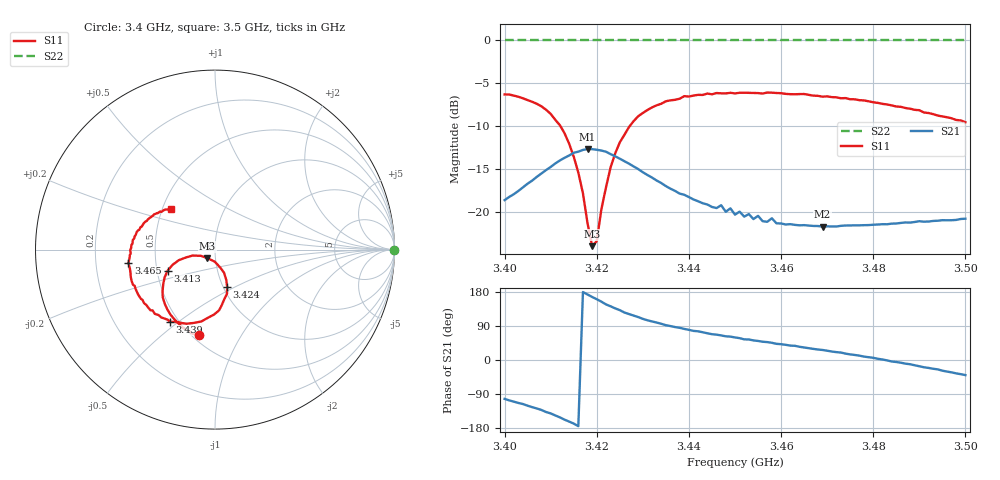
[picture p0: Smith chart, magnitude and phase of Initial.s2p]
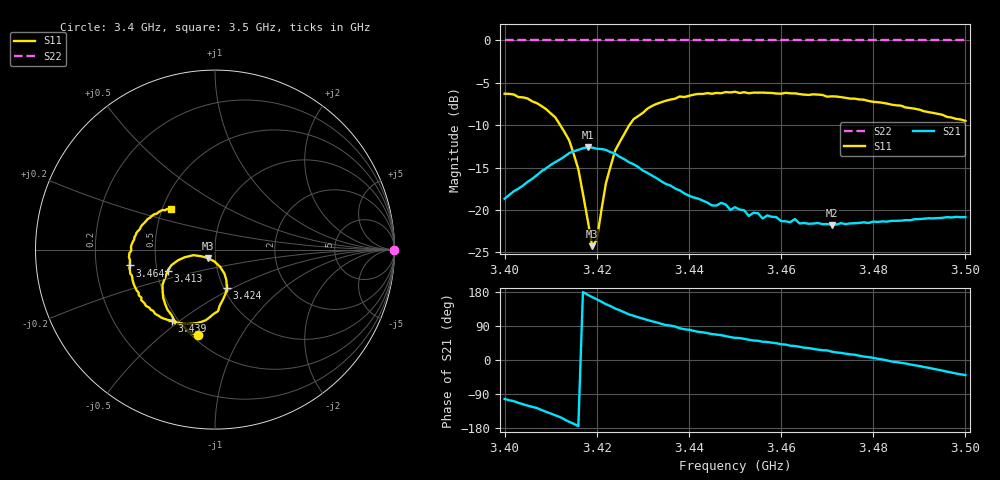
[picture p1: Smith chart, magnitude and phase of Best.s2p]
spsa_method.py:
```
import numpy as np
from typing import Callable, Tuple, Union
from nanovna import NanoVNAV2
import skrf
import matplotlib
import matplotlib.pyplot as plt
import time
import motor1
import motor2
import motor3
import scipy.optimize as spo
import threading
import os

matplotlib.rcParams['toolbar'] = 'None'

### User functions ###
#a = input('press enter to continue')
#motor1.drive(goto=200)
#a = input('press enter to continue')

### Input parameters ###

# Goals
f_goal = 3420e6
sign = -1 #minimize S21: sign=1, maximize S21: sign=-1

# Excitation parameters
f_start = 3300e6 # Hz
f_stop = 3500e6 # Hz
sweep_pts = 101 # 101 / Number of points to sweep

### Clear previous data/logs ###
files = ['Current.s2p', 'Initial.s2p', 'Best.s2p', 'log.txt']

for file in files:
	if os.path.isfile(file):
		os.remove(file)
	else:
		pass

### Device initiation ###
# Initiate device
nv = NanoVNAV2()

# Set frequency range
nv.set_sweep(f_start, f_stop)
nv.fetch_frequencies()

# Measure initial S11 and S21
s11 = nv.data(0)
s21 = nv.data(1)

f_arr = np.linspace(f_start/1e6, f_stop/1e6, num=sweep_pts)
f = skrf.Frequency.from_f(f_arr, unit='MHz')
s = np.zeros((len(f), 2, 2), dtype = 'complex_')
s[:,0,0] = s11
s[:,0,1] = np.ones_like(s11)*np.nan
s[:,1,0] = s21
s[:,1,1] = np.ones_like(s11)*np.nan
ntw_init = skrf.Network(frequency=f, s=s)

ntw_init.write_touchstone('Initial')
ntw_init = skrf.Network('Initial.s2p')

ntw_best = ntw_init
ntw_best.write_touchstone('Best')
ntw_best = skrf.Network('Best.s2p')

f_goal /= 1e6
difference_array = np.absolute(f_arr-f_goal)
idx = (np.abs(f_arr - f_goal)).argmin()

if f_goal == int(f_goal):
	f_goal_label = str(int(f_goal))
else:
	f_goal_label = str(f_goal)

positions = np.empty((0,3))
s11_progress = np.array([])
s21_progress = np.array([])

plt.ion()

fig = plt.figure('Network Optimizer')
plt.tight_layout()
mng = plt.get_current_fig_manager()
mng.full_screen_toggle()

flag = True
def s21_mag(goto):
	global positions, best, ntw_best, s, s11_progress, s21_progress, f_goal_label, flag
	try:
		# Float to Int
		goto = [int(pos) for pos in goto]

		goto1 = goto[0]
		goto2 = goto[1]
		goto3 = goto[2]
		if not flag:
			positions = np.append(positions, [[goto1, goto2, goto3]], axis=0)
		with open('log.txt', 'a') as log:
			log.write('==================================\n')
			log.write('Shifting motor1 to position: '+str(goto1)+'\n')
			log.write('Shifting motor2 to position: '+str(goto2)+'\n')
			log.write('Shifting motor3 to position: '+str(goto3)+'\n')
		threads = [
			threading.Thread(target=motor1.drive, args=(goto1,)),
			threading.Thread(target=motor2.drive, args=(goto2,)),
			threading.Thread(target=motor3.drive, args=(goto3,))
		]
		for thread in threads:
			thread.start()
		for thread in threads:
			thread.join()

		prev_iter = sign*skrf.mathFunctions.complex_2_db(s[idx,1,0])

		# Measure current S11 and S21
		s11 = nv.data(0)
		s21 = nv.data(1)

		f_arr = np.linspace(f_start/1e6, f_stop/1e6, num=sweep_pts)
		f = skrf.Frequency.from_f(f_arr, unit='MHz')
		s = np.zeros((len(f), 2, 2), dtype = 'complex_')
		s[:,0,0] = s11
		s[:,0,1] = np.ones_like(s11)*np.nan # S12 (incompatible with NanoVNA)
		s[:,1,0] = s21
		s[:,1,1] = np.ones_like(s11)*np.nan # S22 (incompatible with NanoVNA)

		if not flag:
			s11_progress = np.append(s11_progress, skrf.mathFunctions.complex_2_db(s[idx,0,0]))
			s21_progress = np.append(s21_progress, skrf.mathFunctions.complex_2_db(s[idx,1,0]))

		ntw = skrf.Network(frequency=f, s=s)

		ntw.write_touchstone('Current')
		ntw = skrf.Network('Current.s2p')

		if flag:
			best = sign*skrf.mathFunctions.complex_2_db(s[idx,1,0])
			ntw_best = ntw
			ntw_best.write_touchstone('Best')
			ntw_best = skrf.Network('Best.s2p')
			flag = False
		else:
			if sign*skrf.mathFunctions.complex_2_db(s[idx,1,0]) < best:
				best = sign*skrf.mathFunctions.complex_2_db(s[idx,1,0])
				ntw_best = ntw
				ntw_best.write_touchstone('Best')
				ntw_best = skrf.Network('Best.s2p')

		plt.clf()
		ax1 = plt.subplot(221) # Initial vs Best
		ax2 = plt.subplot(223) # Current
		ax3 = plt.subplot(224) # Positions vs Iteration
		ax4 = plt.subplot(222) # |S11|, |S21| vs Iteration (maybe with axhline for Initial for reference?)

		plt.subplots_adjust() #hspace=0.075)

		# Initial vs Best
		ax1.set_title('Optimization Progress')

		ax1.axvline(x=f_goal*1e6, color='#9467bd', linestyle='--')
		ntw_init.plot_s_db(n=0,m=0,ax=ax1)
		ntw_init.plot_s_db(n=0,m=1,ax=ax1)

		#if sign*skrf.mathFunctions.complex_2_db(s[idx,1,0]) < prev_iter:
		#	ntw_best = ntw
		#	ntw_best.write_touchstone('best')
		#	ntw_best = skrf.Network('best.s2p')

		ntw_best.plot_s_db(n=0,m=0,ax=ax1)
		ntw_best.plot_s_db(n=0,m=1,ax=ax1)

		ax1.set_ylim(-40,0)
		ax1.grid()
		ax1.legend(loc='lower left')

		# Current
		ax2.axvline(x=f_goal*1e6, color='#9467bd', linestyle='--')
		ntw.plot_s_db(n=0,m=0,ax=ax2)
		ntw.plot_s_db(n=0,m=1,ax=ax2)
		ax1.get_shared_x_axes().join(ax1, ax2)
		ax1.set_xticklabels([])
		x_axis = ax1.axes.get_xaxis()
		x_axis.set_label_text('')
		x_label = x_axis.get_label()
		x_label.set_visible(False)
		ax2.set_ylim(-40,0)
		ax2.grid()
		ax2.legend(loc='lower left')

		# Positions vs Iteration #
		ax3.plot(range(len(positions)),positions[:,0],label='Motor 1') # Motor1
		ax3.plot(range(len(positions)),positions[:,1],label='Motor 2') # Motor2
		ax3.plot(range(len(positions)),positions[:,2],label='Motor 3') # Motor3
		ax3.set_xlim(left=0)
		ax3.grid()
		ax3.legend(loc='best')
		ax3.set_xlabel('Iteration #')
		ax3.set_ylabel('Position (steps)')

		# |S11|, |S21| vs Iteration #
		ax4.set_title('Motor Iterations')
		ax4.plot(range(len(s11_progress)),s11_progress,label='S11('+f_goal_label+' MHz)') # Motor1
		ax4.plot(range(len(s21_progress)),s21_progress,label='S21('+f_goal_label+' MHz)') # Motor2
		ax4.set_xlim(left=0)
		ax4.get_shared_x_axes().join(ax4, ax3)
		ax4.set_xticklabels([])
		x_axis = ax1.axes.get_xaxis()
		x_axis.set_label_text('')
		x_label = x_axis.get_label()
		x_label.set_visible(False)
		ax4.grid()
		ax4.legend(loc='best')
		#ax4.set_xlabel('Iteration #')
		ax4.set_ylabel('Magnitude (dB)')

		plt.show()
		plt.tight_layout()
		plt.draw()
		plt.pause(0.0001)
	except KeyboardInterrupt:
		raise ValueError('\nSweep terminated by user.')
		#return 1

	return sign*skrf.mathFunctions.complex_2_db(s[idx,1,0])

# loss(Vector) -> float.
Vector = Union[np.ndarray, float]
LossFunction = Callable[[Vector], float]

def map_to_range(x: Vector, lo: Vector, hi: Vector) -> Vector:
    """Maps the range of values (-inf, inf) to the range of values (lo, hi)."""
    return lo + (hi - lo) / (1 + np.exp(x))

def decay(x: float, decay: float, power: float, iteration: int) -> float:
    """Reduces x over time."""
    return x / (1 + decay * iteration) ** power

def spsa(
    fun: LossFunction,
    x0: Vector,
    lr: float = 0.01,
    lr_decay: float = 0.001,
    lr_power: float = 0.5,
    px: float = 0.1,
    px_decay: float = 0.2, #good: 0.1, original: 0.01
    px_power: float = 0.161,
    px_min: float = 0.0001,
    iterations: int = 1000,
    momentum: float = 0.5,
) -> Vector:
    # Use a copy of the input.
    x = np.array(x0, dtype=float)
    # Initial gradient estimates.
    gradient = np.zeros_like(x, dtype=float)
    weight = 0.0
    # Loop the specified number of iterations.
    for iteration in range(iterations):
        # Get a perturbation.
        dx = max(px_min, decay(px, px_decay, px_power, iteration)) * np.random.choice((-1, 1), size=x.shape)
        # Estimate the gradient.
        df_dx = (fun(x + dx) - fun(x - dx)) / (2 * dx)
        # Update the gradient momentum.
        gradient += (1 - momentum) * (df_dx - gradient)
        weight += (1 - momentum) * (1 - weight)
        # Update the estimate of the minima.
        x -= decay(lr, lr_decay, lr_power, iteration) / weight * gradient
        """Changed line to give you the current estimate so you can run that as well."""
        yield x

def fun(x: Vector) -> float:
    """Map x to the desired range of values, and turn s21_mag into a minimization problem."""
    x = map_to_range(x, 0, 45000)
    return s21_mag(x)

def main():
    global x_prev, y_prev
    initial = 20
    optimizer = spsa(
        fun,
	x0=min(np.random.uniform(-5, 5, size=(initial, 3)), key=fun),
        #x0=np.random.uniform(-2, 2, size=3),
        lr=0.01,
        px=0.3,
        px_min=0.01,
    )
    y_tol = 0.1
    y_prev = float("nan")

    x_tol = 0.1
    x_prev = np.full(3, float("nan"))
    for x in optimizer:
        y = fun(x)
        if abs(y - y_prev) < y_tol or np.linalg.norm(x - x_prev) < x_tol:
            break
        y_prev = -y
        x_prev = x = map_to_range(x, 0, 45000)

try:
	main()
	with open('log.txt', 'a') as log:
		log.write('\nOptimal configuration found: '+str(x_prev)+' | Yielding |S21| = '+str(y_prev)+' dB\n\n')
except:
	pass

fig.savefig('results.png')
plt.close(fig)

#reset = input('Reset motors back to 0? [y/N]: ')
reset = 'y'
if reset == 'y':
	with open('log.txt', 'a') as log:
		log.write('Resetting motors back to initial positions (0 steps)...\n')

	threads = [
		threading.Thread(target=motor1.drive, args=(0,)),
		threading.Thread(target=motor2.drive, args=(0,)),
		threading.Thread(target=motor3.drive, args=(0,))
	]

	for thread in threads:
		thread.start()
	for thread in threads:
		thread.join()

	# GPIO cleanup
	motor1.cleanup()
	motor2.cleanup()
	motor3.cleanup()
```
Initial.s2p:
!Created with skrf (http://scikit-rf.org).
# MHz S RI R 50.0
!freq ReS11 ImS11 ReS21 ImS21 ReS12 ImS12 ReS22 ImS22
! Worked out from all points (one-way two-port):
!   101 points, 3.4 GHz to 3.5 GHz, reference 50 ohm
!   highest |S21| = -12.66 dB at 3.418 GHz (marker M1); lowest = -21.7 dB at 3.469 GHz (marker M2)
!   lowest |S11| = -24.0 dB at 3.419 GHz (marker M3), VSWR 1.14, Z = 45.8 - j4.37 ohm
!   |S11| at or under -10 dB: 3.41213 GHz to 3.427124 GHz (14.99 MHz wide, 0.438 % of centre)
!   |S22| runs from 0.0 to 0.0 dB; largest |S21 - S12| = 0.23
!   S11 on the Smith chart (normalised r, x): 3.4 GHz: 0.54, -0.68; 3.413 GHz: 0.57, -0.14; 3.424 GHz: 1.04, -0.46; 3.439 GHz: 0.45, -0.47; 3.465 GHz: 0.35, -0.07; 3.5 GHz: 0.56, +0.29
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3400  -0.0876 -0.4768  -0.0257 -0.1146  0 0  1 0
3413  -0.2635 -0.1167  -0.1913 -0.0793  0 0  1 0
3418  -0.0786 -0.0347  -0.231 0.029  0 0  1 0
3419  -0.0418 -0.0475  -0.226 0.0552  0 0  1 0
3424  0.0677 -0.209  -0.1526 0.1462  0 0  1 0
3429  -0.00513 -0.362  -0.0703 0.1636  0 0  1 0
3439  -0.2506 -0.402  0.0176 0.1248  0 0  1 0
3450  -0.4032 -0.2811  0.049 0.0833  0 0  1 0
3465  -0.4821 -0.072  0.0704 0.0458  0 0  1 0
3469  -0.4697 -0.0221  0.0736 0.0366  0 0  1 0
3500  -0.2431 0.2285  0.0703 -0.0586  0 0  1 0
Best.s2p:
!Created with skrf (http://scikit-rf.org).
# MHz S RI R 50.0
!freq ReS11 ImS11 ReS21 ImS21 ReS12 ImS12 ReS22 ImS22
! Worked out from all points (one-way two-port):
!   101 points, 3.4 GHz to 3.5 GHz, reference 50 ohm
!   highest |S21| = -12.59 dB at 3.418 GHz (marker M1); lowest = -21.7 dB at 3.471 GHz (marker M2)
!   lowest |S11| = -24.3 dB at 3.419 GHz (marker M3), VSWR 1.13, Z = 46 - j4.31 ohm
!   |S11| at or under -10 dB: 3.412078 GHz to 3.427053 GHz (14.97 MHz wide, 0.438 % of centre)
!   |S22| runs from 0.0 to 0.0 dB; largest |S21 - S12| = 0.23
!   S11 on the Smith chart (normalised r, x): 3.4 GHz: 0.54, -0.67; 3.413 GHz: 0.57, -0.15; 3.424 GHz: 1.03, -0.47; 3.439 GHz: 0.46, -0.47; 3.464 GHz: 0.35, -0.08; 3.5 GHz: 0.55, +0.29
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3400  -0.0963 -0.4754  -0.0261 -0.1137  0 0  1 0
3413  -0.2631 -0.1174  -0.1901 -0.0814  0 0  1 0
3418  -0.0803 -0.0365  -0.2325 0.0309  0 0  1 0
3419  -0.0396 -0.0467  -0.2264 0.0565  0 0  1 0
3424  0.0661 -0.2146  -0.1539 0.1498  0 0  1 0
3428  0.0168 -0.3432  -0.0836 0.1662  0 0  1 0
3439  -0.2423 -0.3951  0.0189 0.124  0 0  1 0
3450  -0.411 -0.2818  0.0544 0.0886  0 0  1 0
3464  -0.4748 -0.0884  0.0684 0.0477  0 0  1 0
3471  -0.468 0.0122  0.0758 0.0307  0 0  1 0
3500  -0.2453 0.2288  0.0698 -0.0579  0 0  1 0
